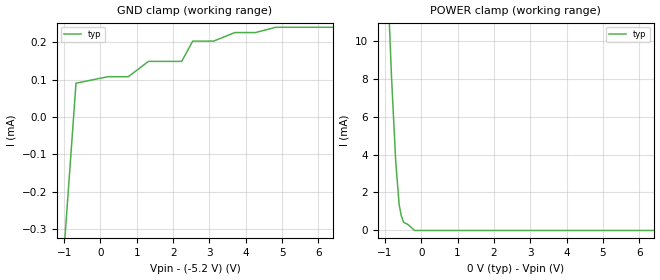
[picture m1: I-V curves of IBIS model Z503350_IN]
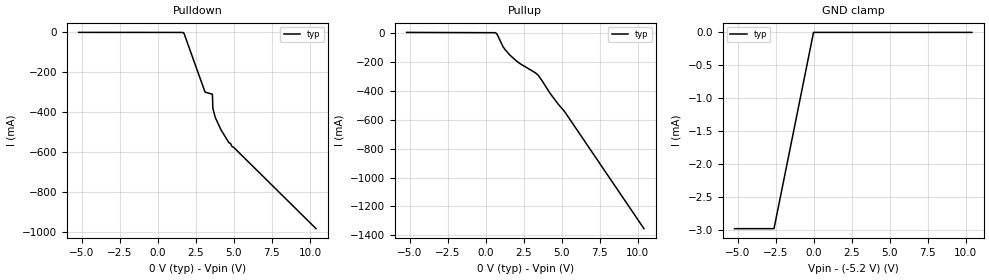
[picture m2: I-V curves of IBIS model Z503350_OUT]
| YOU ARE ONLY AUTHORIZED TO USE THIS SOFTWARE
| ACCORDING TO LICENSOR'S LICENSE RESTRICTIONS.
[IBIS Ver] 3.1
[File Name] mc10137l.ibs
[File Rev] 2.0
[Source] Measured and created by ICX Technology
[Date] Friday 7/14/00 9:07:46 AM
[Copyright]
| (C) COPYRIGHT 1993-2000
| MENTOR GRAPHICS CORPORATION
| ICX STANDARD LIBRARY, ICX PROJECT MODELING,
| ICX CUSTOM MODELING, ICX VENDOR MODEL
| ALL RIGHTS RESERVED.
| THE FOLLOWING ARE TRADEMARKS OR SERVICE MARKS OF
| MENTOR GRAPHICS CORPORATION:ICX (R), ICX STANDARD
| LIBRARY(R), ICX PROJECT MODELING(R), ICX CUSTOM
| MODELING(R), qualityIBIS(TM), MODELVIEWER(TM),
| AND MODELEDITOR(TM)
| ALL COPIES OF SOFTWARE, INCLUDING BUT NOT LIMITED TO
| ANY MODIFICATIONS, ENHANCEMENTS OR DERIVATIVE WORKS,
| MUST CONTAIN ALL MENTOR GRAPHICS CORPORATION'S
| NOTICES AND LEGENDS, INCLUDING THOSE EMBEDDED IN
| SOFTWARE AND THOSE AFFIXED TO SOFTWARE MEDIUM
| AND CONTAINER, AS RECEIVED FROM MENTOR GRAPHICS
| CORPORATION.
|  ZAP Model Builder 2.7
[Component] MC10137L
[Manufacturer] OnSemiconductor
[Package]
| variable   typ   min   max
R_pkg  .212ohms NA NA
L_pkg  4.758nH NA NA
C_pkg  1.944pF NA NA
[Pin] signal_name  model_name  R_pin  L_pin C_pin
1 VCC1 POWER .224 7.258n 2.683p
2 Q2 Z503350_OUT .216 5.258n 2.19p
3 Q3 Z503350_OUT .208 3.758n 1.697p
4 _CO Z503350_OUT .2 2.758n 1.204p
5 D3 Z503350_IN .2 2.758n 1.204p
6 D2 Z503350_IN .208 3.758n 1.697p
7 S2 Z503350_IN .216 5.258n 2.19p
8 VEE POWER .224 7.258n 2.683p
9 S1 Z503350_IN .224 7.258n 2.683p
10 _CI Z503350_IN .216 5.258n 2.19p
11 D1 Z503350_IN .208 3.758n 1.697p
12 D0 Z503350_IN .2 2.758n 1.204p
13 CLK Z503350_IN .2 2.758n 1.204p
14 Q0 Z503350_OUT .208 3.758n 1.697p
15 Q1 Z503350_OUT .216 5.258n 2.19p
16 VCC2 POWER .224 7.258n 2.683p
| Models and submodels in the file (2): Z503350_IN (Input_ECL), Z503350_OUT (Output_ECL)
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| (C) COPYRIGHT 1993-2000
| MENTOR GRAPHICS CORPORATION
| ICX STANDARD LIBRARY, ICX PROJECT MODELING,
| ICX CUSTOM MODELING, ICX VENDOR MODEL
| ALL RIGHTS RESERVED.
| THE FOLLOWING ARE TRADEMARKS OR SERVICE MARKS OF
| MENTOR GRAPHICS CORPORATION:ICX (R), ICX STANDARD
| LIBRARY(R), ICX PROJECT MODELING(R), ICX CUSTOM
| MODELING(R), qualityIBIS(TM), MODELVIEWER(TM),
| AND MODELEDITOR(TM)
| ALL COPIES OF SOFTWARE, INCLUDING BUT NOT LIMITED TO
| ANY MODIFICATIONS, ENHANCEMENTS OR DERIVATIVE WORKS,
| MUST CONTAIN ALL MENTOR GRAPHICS CORPORATION'S
| NOTICES AND LEGENDS, INCLUDING THOSE EMBEDDED IN
| SOFTWARE AND THOSE AFFIXED TO SOFTWARE MEDIUM
| AND CONTAINER, AS RECEIVED FROM MENTOR GRAPHICS
| CORPORATION.
| Model Application Version 1.89 2/18/99.
[Model] Z503350_IN
Model_type Input_ECL
Vinl = -1.475V
Vinh = -1.105V
C_comp 4.000pF NA NA
| variable typ   min   max
[Voltage Range] -5.200V NA NA
[GND Clamp Reference] -5.200V NA NA
[POWER Clamp Reference] 0.000V NA NA
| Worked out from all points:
|   POWER clamp passes 1 mA (typ) near -0.57 V on its own axis
[GND Clamp]
-5.2V     -2.722mA   NA         NA
-1.011V   -366.9uA   NA         NA
-674mV    90.77uA    NA         NA
765.5mV   108.3uA    NA         NA
1.322V    149.3uA    NA         NA
2.235V    149.3uA    NA         NA
2.539V    203.7uA    NA         NA
3.118V    203.7uA    NA         NA
3.696V    226.5uA    NA         NA
4.263V    226.5uA    NA         NA
4.829V    240.8uA    NA         NA
10.4V     240.8uA    NA         NA
[POWER Clamp]
-5.2V     289.2mA    NA         NA
-1.143V   23.3mA     NA         NA
-820.1mV  8.098mA    NA         NA
-703.1mV  3.594mA    NA         NA
-609.4mV  1.352mA    NA         NA
-551.4mV  779.2uA    NA         NA
-488.1mV  428.4uA    NA         NA
-371.1mV  319.2uA    NA         NA
-185.6mV  0A         NA         NA
10.4V     0A         NA         NA
| (C) COPYRIGHT 1993-2000
| MENTOR GRAPHICS CORPORATION
| ICX STANDARD LIBRARY, ICX PROJECT MODELING,
| ICX CUSTOM MODELING, ICX VENDOR MODEL
| ALL RIGHTS RESERVED.
| THE FOLLOWING ARE TRADEMARKS OR SERVICE MARKS OF
| MENTOR GRAPHICS CORPORATION:ICX (R), ICX STANDARD
| LIBRARY(R), ICX PROJECT MODELING(R), ICX CUSTOM
| MODELING(R), qualityIBIS(TM), MODELVIEWER(TM),
| AND MODELEDITOR(TM)
| ALL COPIES OF SOFTWARE, INCLUDING BUT NOT LIMITED TO
| ANY MODIFICATIONS, ENHANCEMENTS OR DERIVATIVE WORKS,
| MUST CONTAIN ALL MENTOR GRAPHICS CORPORATION'S
| NOTICES AND LEGENDS, INCLUDING THOSE EMBEDDED IN
| SOFTWARE AND THOSE AFFIXED TO SOFTWARE MEDIUM
| AND CONTAINER, AS RECEIVED FROM MENTOR GRAPHICS
| CORPORATION.
| Model Application Version 1.89 2/18/99.
[Model] Z503350_OUT
Model_type Output_ECL
Vref=-2.000V
Rref=50.00ohms
Cref=0.000F
Vmeas=-1.290V
C_comp 8.000pF NA NA
| variable typ   min   max
[Voltage Range] -5.200V NA NA
[POWER Clamp Reference] 0.000V NA NA
[Pullup Reference] 0.000V NA NA
[Pulldown Reference] 0.000V NA NA
[GND Clamp Reference] -5.200V NA NA
[GND Clamp]
-5.2V     -2.975mA   NA         NA
-2.603V   -2.975mA   NA         NA
-6mV      0A         NA         NA
10.4V     0A         NA         NA
[Pulldown]
-5.2V     194.5uA    NA         NA
1.719V    -3.731mA   NA         NA
3.107V    -298.7mA   NA         NA
3.589V    -309.1mA   NA         NA
3.621V    -380.5mA   NA         NA
3.779V    -425.7mA   NA         NA
4.159V    -488mA     NA         NA
4.678V    -552.2mA   NA         NA
4.789V    -556.1mA   NA         NA
4.855V    -568.9mA   NA         NA
5.003V    -576.2mA   NA         NA
10.4V     -981.8mA   NA         NA
[Pullup]
-5.2V     1.751mA    NA         NA
683.5mV   -3.153mA   NA         NA
756.2mV   -12.89mA   NA         NA
1.14V     -96.9mA    NA         NA
1.577V    -153.5mA   NA         NA
2.27V     -215.1mA   NA         NA
3.261V    -276.8mA   NA         NA
3.442V    -292.9mA   NA         NA
4.238V    -419.8mA   NA         NA
5.185V    -544.9mA   NA         NA
10.4V     -1.353A    NA         NA
[POWER Clamp]
-5.2V     0A         NA         NA
10.4V     0A         NA         NA
[Ramp]
| variable typ min max
dV/dt_r 587.3m/1.945n NA NA
dV/dt_f 587.3m/1.434n NA NA
R_load = 500.0Ohms
